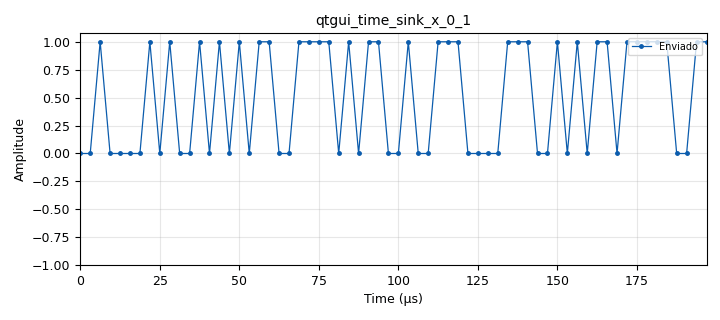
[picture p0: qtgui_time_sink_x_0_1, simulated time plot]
options:
  parameters:
    generate_options: qt_gui
    id: BER_Simulation
    output_language: python
    title: Not titled yet
  states: {}

blocks:
- name: m
  id: variable
  parameters:
    value: '3'
  states: {}
- name: samp_rate
  id: variable
  parameters:
    value: '32000'
  states: {}
- name: ID
  id: qtgui_tab_widget
  parameters:
    label0: Comparação BER
    num_tabs: '1'
  states: {}
- name: ITpp_BER_Analyzer_0
  id: ITpp_BER_Analyzer
  parameters:
    init_Eb_N0_dB: '0'
    max_Eb_N0_dB: '11.0'
    step_Eb_N0_dB: '1.0'
  states: {}
- name: ITpp_Hamming_Decoder_0
  id: ITpp_Hamming_Decoder
  parameters:
    m: m
  states: {}
- name: ITpp_Hamming_Encoder_0
  id: ITpp_Hamming_Encoder
  parameters:
    m: m
  states: {}
- name: ITpp_Hamming_Soft_Decoder_0
  id: ITpp_Hamming_Soft_Decoder
  parameters:
    m: m
  states: {}
- name: analog_const_source_x_0_1
  id: analog_const_source_x
  parameters:
    const: '7'
    type: int
  states: {}
- name: analog_const_source_x_0_1_0
  id: analog_const_source_x
  parameters:
    const: '4'
    type: int
  states: {}
- name: analog_const_source_x_0_1_1
  id: analog_const_source_x
  parameters:
    const: '2000'
    type: int
  states: {}
- name: analog_noise_source_x_0
  id: analog_noise_source_x
  parameters:
    amp: '0.3'
    noise_type: analog.GR_GAUSSIAN
    seed: '7'
    type: float
  states: {}
- name: analog_random_source_x_0
  id: analog_random_source_x
  parameters:
    max: '2'
    min: '0'
    num_samps: '10000'
    repeat: 'True'
    type: byte
  states: {}
- name: blocks_add_const_vxx_0
  id: blocks_add_const_vxx
  parameters:
    const: '-1'
    type: float
  states: {}
- name: blocks_add_xx_0
  id: blocks_add_xx
  parameters:
    type: float
  states: {}
- name: blocks_add_xx_1
  id: blocks_add_xx
  parameters:
    type: float
  states: {}
- name: blocks_add_xx_1_0
  id: blocks_add_xx
  parameters:
    type: float
  states: {}
- name: blocks_char_to_float_0
  id: blocks_char_to_float
  parameters:
    scale: '0.5'
  states: {}
- name: blocks_float_to_uchar_0
  id: blocks_float_to_uchar
  parameters: {}
  states: {}
- name: blocks_float_to_uchar_1
  id: blocks_float_to_uchar
  parameters: {}
  states: {}
- name: blocks_throttle_0
  id: blocks_throttle
  parameters:
    samples_per_second: samp_rate
    type: byte
  states: {}
- name: blocks_uchar_to_float_0
  id: blocks_uchar_to_float
  parameters: {}
  states: {}
- name: blocks_uchar_to_float_0_0
  id: blocks_uchar_to_float
  parameters: {}
  states: {}
- name: blocks_uchar_to_float_0_1
  id: blocks_uchar_to_float
  parameters: {}
  states: {}
- name: blocks_uchar_to_float_0_1_0
  id: blocks_uchar_to_float
  parameters: {}
  states: {}
- name: blocks_uchar_to_float_1
  id: blocks_uchar_to_float
  parameters: {}
  states: {}
- name: blocks_uchar_to_float_2
  id: blocks_uchar_to_float
  parameters: {}
  states: {}
- name: blocks_vector_source_x_0
  id: blocks_vector_source_x
  parameters:
    repeat: 'True'
    type: byte
    vector: (0, 0, 0,0 )
  states: {}
- name: qtgui_time_sink_x_0_1
  id: qtgui_time_sink_x
  parameters:
    color1: green
    label1: Enviado
    marker1: '0'
    size: '64'
    srate: '320000'
    type: float
  states: {}
- name: qtgui_time_sink_x_1_0
  id: qtgui_time_sink_x
  parameters:
    label1: Soft Decoding
    label2: Hard Decoding
    marker1: '0'
    marker2: '0'
    nconnections: '2'
    size: '64'
    srate: samp_rate
    stemplot: 'True'
    type: float
    ymax: '3'
    ymin: '0'
  states: {}

connections:
- [ITpp_Hamming_Decoder_0, '0', ITpp_BER_Analyzer_0, '5']
- [ITpp_Hamming_Decoder_0, '0', blocks_uchar_to_float_0_1_0, '0']
- [ITpp_Hamming_Encoder_0, '0', blocks_char_to_float_0, '0']
- [ITpp_Hamming_Encoder_0, '0', blocks_uchar_to_float_2, '0']
- [ITpp_Hamming_Soft_Decoder_0, '0', ITpp_BER_Analyzer_0, '4']
- [ITpp_Hamming_Soft_Decoder_0, '0', blocks_uchar_to_float_0_1, '0']
- [analog_const_source_x_0_1, '0', ITpp_BER_Analyzer_0, '0']
- [analog_const_source_x_0_1_0, '0', ITpp_BER_Analyzer_0, '1']
- [analog_const_source_x_0_1_1, '0', ITpp_BER_Analyzer_0, '2']
- [analog_noise_source_x_0, '0', blocks_add_xx_1, '0']
- [analog_noise_source_x_0, '0', blocks_add_xx_1_0, '0']
- [analog_random_source_x_0, '0', blocks_uchar_to_float_0_0, '0']
- [blocks_add_const_vxx_0, '0', blocks_add_xx_1, '1']
- [blocks_add_xx_0, '0', blocks_float_to_uchar_1, '0']
- [blocks_add_xx_1, '0', ITpp_Hamming_Soft_Decoder_0, '0']
- [blocks_add_xx_1_0, '0', blocks_float_to_uchar_0, '0']
- [blocks_char_to_float_0, '0', blocks_add_const_vxx_0, '0']
- [blocks_float_to_uchar_0, '0', ITpp_Hamming_Decoder_0, '0']
- [blocks_float_to_uchar_1, '0', ITpp_BER_Analyzer_0, '3']
- [blocks_float_to_uchar_1, '0', blocks_throttle_0, '0']
- [blocks_throttle_0, '0', ITpp_Hamming_Encoder_0, '0']
- [blocks_throttle_0, '0', blocks_uchar_to_float_1, '0']
- [blocks_uchar_to_float_0, '0', blocks_add_xx_0, '1']
- [blocks_uchar_to_float_0_0, '0', blocks_add_xx_0, '0']
- [blocks_uchar_to_float_0_1, '0', qtgui_time_sink_x_1_0, '0']
- [blocks_uchar_to_float_0_1_0, '0', qtgui_time_sink_x_1_0, '1']
- [blocks_uchar_to_float_1, '0', qtgui_time_sink_x_0_1, '0']
- [blocks_uchar_to_float_2, '0', blocks_add_xx_1_0, '1']
- [blocks_vector_source_x_0, '0', blocks_uchar_to_float_0, '0']

metadata:
  file_format: 1
